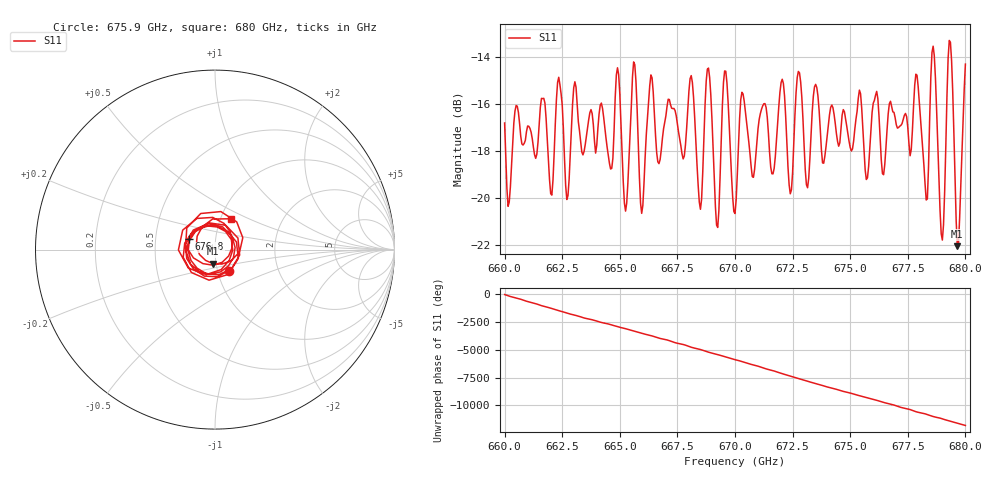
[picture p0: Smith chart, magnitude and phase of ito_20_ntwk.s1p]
!Created with skrf (http://scikit-rf.org).
# GHz S RI R 50.0
!freq ReS11 ImS11
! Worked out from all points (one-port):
!   401 points, 660 GHz to 680 GHz, reference 50 ohm
!   lowest |S11| = -22.1 dB at 679.65 GHz (marker M1), VSWR 1.17, Z = 48.4 - j7.62 ohm
!   |S11| at or under -10 dB: start of sweep to end of sweep
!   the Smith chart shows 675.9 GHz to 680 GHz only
!   S11 on the Smith chart (normalised r, x): 675.9 GHz: 1.13, -0.27; 676.8 GHz: 0.74, +0.09; 680 GHz: 1.12, +0.40
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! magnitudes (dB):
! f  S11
! 660 GHz  -16.8
! 662.5 GHz  -16.0
! 665 GHz  -15.6
! 665.25 GHz  -20.6
! 665.6 GHz  -14.2
! 665.95 GHz  -20.7
! 666.35 GHz  -14.8
! 667.5 GHz  -16.9
! 668.1 GHz  -14.8
! 668.5 GHz  -20.5
! 668.85 GHz  -14.5
! 669.25 GHz  -21.3
! 669.6 GHz  -14.6
! 670 GHz  -20.7
! 670.35 GHz  -15.6
! 672.5 GHz  -18.9
! 672.75 GHz  -14.6
! 673.15 GHz  -19.6
! 675 GHz  -17.9
! 675.9 GHz  -17.1
! 676.8 GHz  -16.1
! 677.5 GHz  -17.0
! 678.3 GHz  -20.1
! 678.6 GHz  -13.5
! 679 GHz  -21.8
! 679.35 GHz  -13.4
! 679.65 GHz  -22.1
! 680 GHz  -14.3
